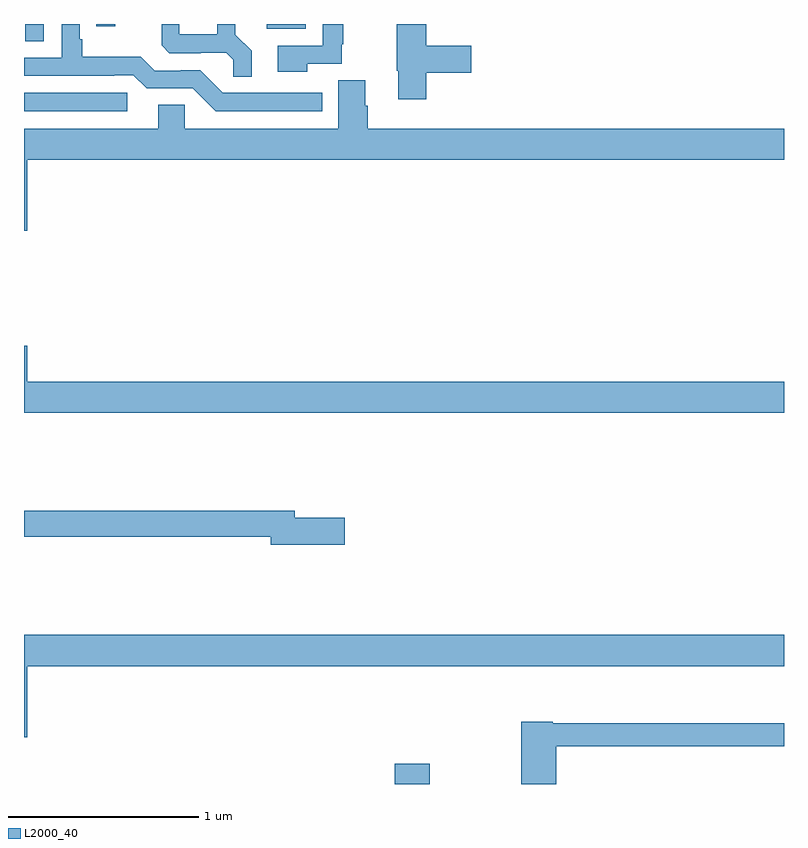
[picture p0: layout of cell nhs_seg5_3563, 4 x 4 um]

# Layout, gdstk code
import gdstk
lib = gdstk.Library(unit=1e-6, precision=1e-09)
def R(c, l, rs):  # rectangles x0, y0, x1, y1
    for r in rs: c.add(gdstk.rectangle(r[:2], r[2:], *l))
def P(c, l, *ps):  # polygons
    for p in ps: c.add(gdstk.Polygon(p, *l))
L2000_40 = (2000, 40)

nhs_seg5_3563 = lib.new_cell('nhs_seg5_3563')
R(nhs_seg5_3563, L2000_40, [(322.952,862.799,323.135,862.906), (321,866.34,321.544,866.436), (321.007,866.707,321.105,866.799), (322.277,866.774,322.483,866.799), (321.379,866.787,321.48,866.799)])
P(nhs_seg5_3563, L2000_40, [(323.117,866.542),(323.353,866.542),(323.353,866.684),(323.117,866.684),(323.117,866.799),(322.963,866.799),(322.963,866.553),(322.97,866.553),(322.97,866.403),(323.117,866.403)],
  [(322.491,866.589),(322.673,866.589),(322.673,866.692),(322.681,866.692),(322.681,866.799),(322.572,866.799),(322.572,866.685),(322.335,866.685),(322.335,866.549),(322.491,866.549)],
  [(322.199,866.657),(322.113,866.743),(322.113,866.799),(322.016,866.799),(322.016,866.746),(321.818,866.746),(321.818,866.799),(321.724,866.799),(321.724,866.687),(321.765,866.646),(321.93,866.646),(321.93,866.649),(322.064,866.649),(322.101,866.612),(322.101,866.521),(322.199,866.521)],
  [(322.57,866.436),(322.047,866.436),(321.927,866.556),(321.826,866.556),(321.826,866.553),(321.687,866.553),(321.614,866.626),(321.307,866.626),(321.307,866.719),(321.294,866.719),(321.294,866.799),(321.198,866.799),(321.198,866.622),(321,866.622),(321,866.526),(321.476,866.526),(321.476,866.529),(321.576,866.529),(321.645,866.46),(321.888,866.46),(322.008,866.34),(322.57,866.34)],
  [(321.016,866.084),(325,866.084),(325,866.248),(322.808,866.248),(322.808,866.37),(322.795,866.37),(322.795,866.504),(322.655,866.504),(322.655,866.248),(321.846,866.248),(321.846,866.375),(321.707,866.375),(321.707,866.248),(321,866.248),(321,865.71),(321.016,865.71)],
  [(325,864.916),(321.016,864.916),(321.016,865.105),(321,865.105),(321,864.752),(325,864.752)],
  [(322.687,864.2),(322.426,864.2),(322.426,864.236),(321,864.236),(321,864.1),(322.298,864.1),(322.298,864.058),(322.687,864.058)],
  [(321.016,863.42),(325,863.42),(325,863.584),(321,863.584),(321,863.046),(321.016,863.046)],
  [(323.801,862.998),(325,862.998),(325,863.119),(323.784,863.119),(323.784,863.127),(323.618,863.127),(323.618,862.799),(323.801,862.799)])

lib.write_gds('nhs_seg5_3563.gds')
